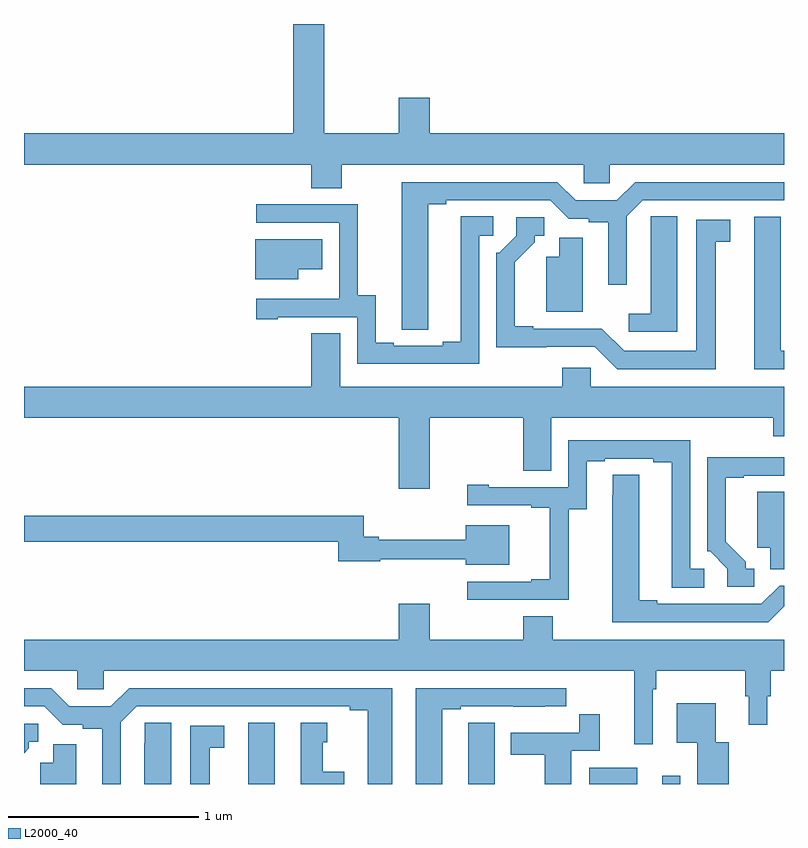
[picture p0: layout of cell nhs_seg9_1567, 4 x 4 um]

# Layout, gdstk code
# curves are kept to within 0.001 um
import gdstk
lib = gdstk.Library(unit=1e-6, precision=1e-09)
def R(c, l, rs):  # rectangles x0, y0, x1, y1
    for r in rs: c.add(gdstk.rectangle(r[:2], r[2:], *l))
def P(c, l, *ps):  # polygons
    for p in ps: c.add(gdstk.Polygon(p, *l))
L2000_40 = (2000, 40)

nhs_seg9_1567 = lib.new_cell('nhs_seg9_1567')
R(nhs_seg9_1567, L2000_40, [(200.18,1186.5,200.32,1186.822), (201.974,1186.5,202.228,1186.585), (202.358,1186.5,202.455,1186.543)])
P(nhs_seg9_1567, L2000_40, [(200.673,1189.76),(201.945,1189.76),(201.945,1189.662),(202.083,1189.662),(202.083,1189.76),(203,1189.76),(203,1189.924),(201.136,1189.924),(201.136,1190.113),(200.972,1190.113),(200.972,1189.924),(200.581,1189.924),(200.581,1190.5),(200.417,1190.5),(200.417,1189.924),(199,1189.924),(199,1189.76),(200.513,1189.76),(200.513,1189.636),(200.673,1189.636)],
  [(201.127,1189.552),(201.223,1189.552),(201.223,1189.572),(201.771,1189.572),(201.867,1189.476),(201.972,1189.476),(201.972,1189.456),(202.076,1189.456),(202.076,1189.128),(202.173,1189.128),(202.173,1189.488),(202.257,1189.572),(203,1189.572),(203,1189.668),(202.217,1189.668),(202.121,1189.572),(201.903,1189.572),(201.807,1189.668),(200.987,1189.668),(200.988,1188.892),(201.127,1188.892)],
  [(201.396,1189.386),(201.469,1189.386),(201.469,1189.487),(201.299,1189.487),(201.299,1188.827),(201.203,1188.827),(201.203,1188.807),(200.947,1188.807),(200.947,1188.822),(200.851,1188.822),(200.851,1189.073),(200.757,1189.073),(200.757,1189.551),(200.223,1189.551),(200.223,1189.455),(200.658,1189.455),(200.658,1189.054),(200.657,1189.054),(200.657,1189.053),(200.223,1189.053),(200.223,1188.945),(200.335,1188.945),(200.335,1188.957),(200.754,1188.957),(200.754,1188.711),(201.396,1188.711)],
  [(202.438,1189.487),(202.299,1189.487),(202.299,1189.379),(202.298,1189.379),(202.298,1188.976),(202.182,1188.976),(202.182,1188.879),(202.438,1188.879)],
  [(203,1188.78),(202.984,1188.78),(202.984,1189.486),(202.844,1189.486),(202.844,1188.684),(203,1188.684)],
  [(202.642,1189.354),(202.717,1189.354),(202.717,1189.47),(202.538,1189.47),(202.538,1188.78),(202.158,1188.78),(202.041,1188.897),(201.679,1188.897),(201.679,1188.91),(201.583,1188.91),(201.583,1189.246),(201.688,1189.351),(201.688,1189.386),(201.738,1189.386),(201.738,1189.482),(201.591,1189.482),(201.591,1189.386),(201.501,1189.296),(201.486,1189.296),(201.486,1188.8),(202.005,1188.801),(202.122,1188.684),(202.642,1188.684)],
  [(201.94,1189.374),(201.818,1189.374),(201.818,1189.276),(201.749,1189.276),(201.749,1188.986),(201.94,1188.986)],
  [(200.443,1189.208),(200.569,1189.208),(200.569,1189.366),(200.216,1189.366),(200.216,1189.157),(200.443,1189.157)],
  [(201.136,1188.428),(201.628,1188.428),(201.628,1188.148),(201.775,1188.148),(201.775,1188.428),(202.943,1188.428),(202.943,1188.33),(203,1188.33),(203,1188.592),(201.984,1188.592),(201.984,1188.69),(201.833,1188.69),(201.833,1188.592),(200.665,1188.592),(200.665,1188.872),(200.513,1188.872),(200.513,1188.592),(199,1188.592),(199,1188.428),(200.972,1188.428),(200.972,1188.054),(201.136,1188.054)],
  [(201.867,1187.947),(201.961,1187.947),(201.961,1188.198),(202.057,1188.198),(202.057,1188.213),(202.313,1188.213),(202.313,1188.193),(202.409,1188.193),(202.409,1187.533),(202.579,1187.533),(202.579,1187.634),(202.506,1187.634),(202.506,1188.309),(201.864,1188.309),(201.864,1188.063),(201.445,1188.063),(201.445,1188.076),(201.333,1188.076),(201.333,1187.967),(201.671,1187.967),(201.671,1187.955),(201.767,1187.955),(201.767,1187.578),(201.671,1187.578),(201.671,1187.565),(201.333,1187.565),(201.333,1187.469),(201.867,1187.469)],
  [(202.843,1187.634),(202.798,1187.634),(202.798,1187.669),(202.693,1187.774),(202.693,1188.111),(202.789,1188.111),(202.789,1188.123),(203,1188.123),(203,1188.219),(202.859,1188.219),(202.859,1188.221),(202.596,1188.221),(202.596,1187.724),(202.611,1187.724),(202.701,1187.634),(202.701,1187.538),(202.843,1187.538)],
  [(203,1187.435),(203,1187.544),(202.977,1187.544),(202.881,1187.448),(202.333,1187.448),(202.333,1187.468),(202.237,1187.468),(202.237,1188.128),(202.098,1188.128),(202.097,1187.352),(202.917,1187.352)],
  [(203,1188.038),(202.859,1188.038),(202.859,1187.744),(202.928,1187.744),(202.928,1187.629),(203,1187.629)],
  [(201.553,1187.863),(201.326,1187.863),(201.326,1187.786),(200.866,1187.786),(200.866,1187.801),(200.789,1187.801),(200.789,1187.912),(199,1187.912),(199,1187.776),(200.653,1187.776),(200.653,1187.673),(200.876,1187.673),(200.876,1187.683),(201.326,1187.683),(201.326,1187.654),(201.553,1187.654)],
  [(202.308,1187),(202.328,1187),(202.328,1187.096),(202.795,1187.096),(202.795,1186.962),(202.814,1186.962),(202.814,1186.812),(202.912,1186.812),(202.912,1186.962),(202.931,1186.962),(202.931,1187.096),(203,1187.096),(203,1187.26),(201.783,1187.26),(201.783,1187.384),(201.628,1187.384),(201.628,1187.26),(201.136,1187.26),(201.136,1187.449),(200.972,1187.449),(200.972,1187.26),(199,1187.26),(199,1187.096),(199.281,1187.096),(199.281,1186.998),(199.419,1186.998),(199.419,1187.096),(202.211,1187.096),(202.211,1186.71),(202.308,1186.71)],
  [(201.202,1186.893),(201.298,1186.893),(201.298,1186.908),(201.574,1186.908),(201.574,1186.907),(201.74,1186.907),(201.74,1186.908),(201.853,1186.908),(201.853,1187.004),(201.062,1187.004),(201.062,1186.5),(201.202,1186.5)],
  [(199.509,1186.824),(199.593,1186.908),(200.714,1186.908),(200.714,1186.888),(200.81,1186.888),(200.81,1186.5),(200.938,1186.5),(200.938,1187.004),(199.553,1187.004),(199.457,1186.908),(199.239,1186.908),(199.143,1187.004),(199,1187.004),(199,1186.908),(199.107,1186.908),(199.203,1186.812),(199.308,1186.812),(199.308,1186.792),(199.412,1186.792),(199.412,1186.5),(199.509,1186.5)],
  [(202.71,1186.72),(202.642,1186.72),(202.642,1186.924),(202.436,1186.924),(202.436,1186.718),(202.544,1186.718),(202.544,1186.5),(202.71,1186.5)],
  [(201.88,1186.674),(202.031,1186.674),(202.031,1186.867),(201.922,1186.867),(201.922,1186.77),(201.563,1186.77),(201.563,1186.654),(201.74,1186.654),(201.74,1186.5),(201.88,1186.5)],
  [(199.774,1186.823),(199.635,1186.823),(199.635,1186.715),(199.634,1186.715),(199.634,1186.5),(199.774,1186.5)],
  [(201.478,1186.823),(201.339,1186.823),(201.339,1186.715),(201.338,1186.715),(201.338,1186.5),(201.478,1186.5)],
  [(200.686,1186.564),(200.572,1186.564),(200.572,1186.719),(200.596,1186.719),(200.596,1186.822),(200.456,1186.822),(200.456,1186.5),(200.686,1186.5)],
  [(199.024,1186.687),(199.024,1186.722),(199.074,1186.722),(199.074,1186.818),(199,1186.818),(199,1186.663)],
  [(199.978,1186.69),(200.053,1186.69),(200.053,1186.806),(199.874,1186.806),(199.874,1186.5),(199.978,1186.5)],
  [(199.276,1186.71),(199.154,1186.71),(199.154,1186.612),(199.085,1186.612),(199.085,1186.5),(199.276,1186.5)])

lib.write_gds('nhs_seg9_1567.gds')
